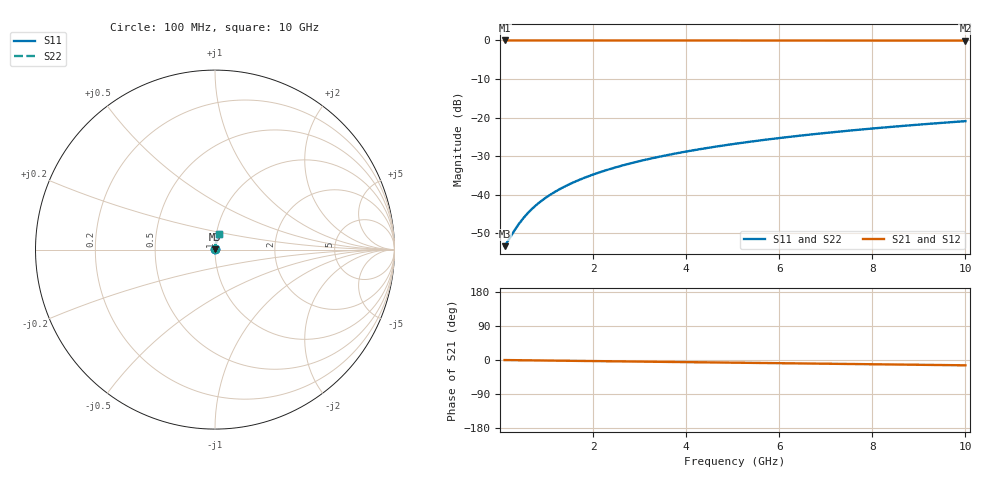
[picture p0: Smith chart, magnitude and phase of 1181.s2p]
# Hz S RI R 50.00
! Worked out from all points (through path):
!   100 points, 100 MHz to 10 GHz, reference 50 ohm
!   highest |S21| = -0.02 dB at 100 MHz (marker M1); lowest = -0.1 dB at 10 GHz (marker M2)
!   group delay of S21, straight-line fit = 3.89 ps
!   lowest |S11| = -53.3 dB at 100 MHz (marker M3), VSWR 1.00, Z = 50.2 + j0.0906 ohm
!   |S11| at or under -10 dB: start of sweep to end of sweep
!   |S22| runs from -53.3 to -20.9 dB; largest |S21 - S12| = 0
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1e8  0.00196 0.000902  0.998 -0.00244  0.998 -0.00244  0.00196 0.000902
3e8  0.002 0.00271  0.998 -0.00731  0.998 -0.00731  0.002 0.00271
4e8  0.00202 0.00361  0.998 -0.00975  0.998 -0.00975  0.00202 0.00361
5e8  0.00205 0.00451  0.9979 -0.0122  0.9979 -0.0122  0.00205 0.00451
6e8  0.00208 0.00541  0.9979 -0.0146  0.9979 -0.0146  0.00208 0.00541
7e8  0.00211 0.00631  0.9978 -0.0171  0.9978 -0.0171  0.00211 0.00631
8e8  0.00215 0.00722  0.9978 -0.0195  0.9978 -0.0195  0.00215 0.00722
1e9  0.00223 0.00902  0.9976 -0.0244  0.9976 -0.0244  0.00223 0.00902
1.2e9  0.00234 0.0108  0.9975 -0.0293  0.9975 -0.0293  0.00234 0.0108
1.5e9  0.00252 0.0135  0.9972 -0.0366  0.9972 -0.0366  0.00252 0.0135
1.8e9  0.00275 0.0162  0.9968 -0.0439  0.9968 -0.0439  0.00275 0.0162
2.1e9  0.00301 0.0189  0.9964 -0.0512  0.9964 -0.0512  0.00301 0.0189
2.5e9  0.00343 0.0225  0.9958 -0.0609  0.9958 -0.0609  0.00343 0.0225
2.9e9  0.00391 0.0261  0.9951 -0.0706  0.9951 -0.0706  0.00391 0.0261
3.4e9  0.00461 0.0305  0.994 -0.0828  0.994 -0.0828  0.00461 0.0305
4.2e9  0.00596 0.0376  0.9919 -0.1022  0.9919 -0.1022  0.00596 0.0376
5.1e9  0.0078 0.0455  0.989 -0.124  0.989 -0.124  0.0078 0.0455
5.9e9  0.00973 0.0525  0.986 -0.1433  0.986 -0.1433  0.00973 0.0525
6.7e9  0.0119 0.0593  0.9826 -0.1625  0.9826 -0.1625  0.0119 0.0593
7.5e9  0.0144 0.0661  0.9788 -0.1816  0.9788 -0.1816  0.0144 0.0661
8.4e9  0.0175 0.0736  0.974 -0.203  0.974 -0.203  0.0175 0.0736
1e10  0.0238 0.0866  0.9641 -0.2407  0.9641 -0.2407  0.0238 0.0866
